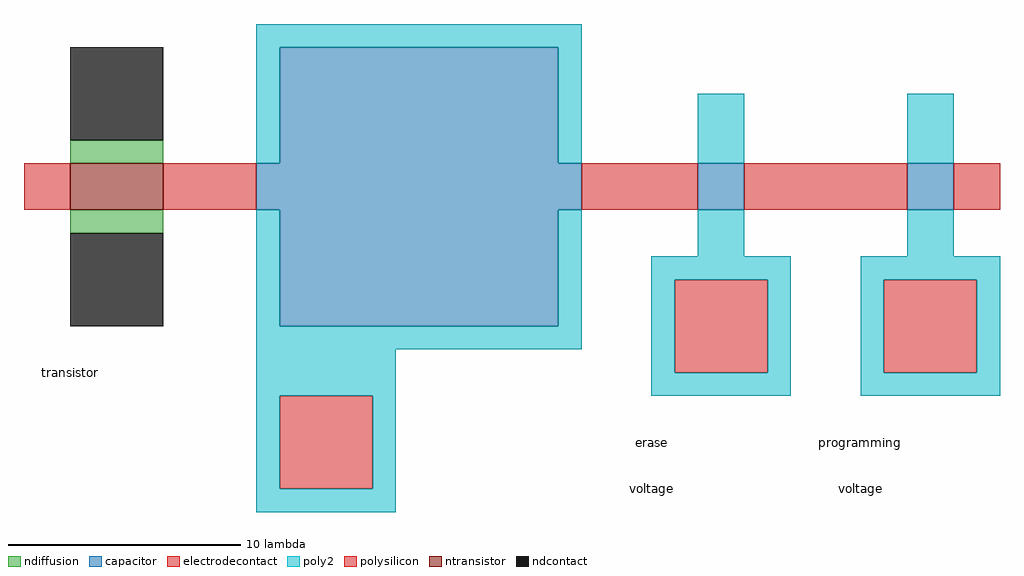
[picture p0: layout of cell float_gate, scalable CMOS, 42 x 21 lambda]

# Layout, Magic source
magic
tech scmos
<< polysilicon >>
rect 0 16 2 18
rect 6 16 10 18
rect 24 16 29 18
rect 31 16 38 18
rect 40 16 42 18
<< poly2 >>
rect 10 23 24 24
rect 10 18 11 23
rect 23 18 24 23
rect 29 18 31 21
rect 38 18 40 21
rect 10 11 11 16
rect 23 11 24 16
rect 29 14 31 16
rect 38 14 40 16
rect 10 10 24 11
rect 27 13 33 14
rect 10 8 16 10
rect 27 9 28 13
rect 32 9 33 13
rect 27 8 33 9
rect 36 13 42 14
rect 36 9 37 13
rect 41 9 42 13
rect 36 8 42 9
rect 10 4 11 8
rect 15 4 16 8
rect 10 3 16 4
<< capacitor >>
rect 11 18 23 23
rect 10 16 24 18
rect 29 16 31 18
rect 38 16 40 18
rect 11 11 23 16
<< ndiffusion >>
rect 2 18 6 19
rect 2 15 6 16
<< ntransistor >>
rect 2 16 6 18
<< ndcontact >>
rect 2 19 6 23
rect 2 11 6 15
<< electrodecontact >>
rect 28 9 32 13
rect 37 9 41 13
rect 11 4 15 8
<< labels >>
rlabel space 2 9 2 9 3 transistor
rlabel space -10 18 -10 18 3 floating
rlabel space -10 16 -10 16 3 gate
rlabel space 27 6 27 6 3 erase
rlabel space 27 4 27 4 3 voltage
rlabel space 36 6 36 6 3 programming
rlabel space 36 4 36 4 3 voltage
rlabel space 10 1 10 1 3 control
rlabel space 10 -1 10 -1 3 gate
<< end >>
